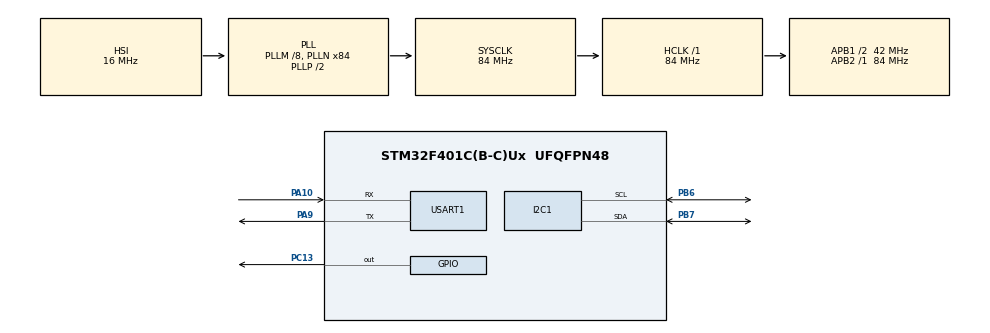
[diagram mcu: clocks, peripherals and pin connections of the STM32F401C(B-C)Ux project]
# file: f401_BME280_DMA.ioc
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Dma.I2C1_RX.1.Direction=DMA_PERIPH_TO_MEMORY
Dma.I2C1_RX.1.FIFOMode=DMA_FIFOMODE_DISABLE
Dma.I2C1_RX.1.Instance=DMA1_Stream0
Dma.I2C1_RX.1.MemDataAlignment=DMA_MDATAALIGN_BYTE
Dma.I2C1_RX.1.MemInc=DMA_MINC_ENABLE
Dma.I2C1_RX.1.Mode=DMA_NORMAL
Dma.I2C1_RX.1.PeriphDataAlignment=DMA_PDATAALIGN_BYTE
Dma.I2C1_RX.1.PeriphInc=DMA_PINC_DISABLE
Dma.I2C1_RX.1.Priority=DMA_PRIORITY_LOW
Dma.I2C1_TX.0.Direction=DMA_MEMORY_TO_PERIPH
Dma.I2C1_TX.0.FIFOMode=DMA_FIFOMODE_DISABLE
Dma.I2C1_TX.0.Instance=DMA1_Stream6
Dma.I2C1_TX.0.MemDataAlignment=DMA_MDATAALIGN_BYTE
Dma.I2C1_TX.0.MemInc=DMA_MINC_ENABLE
Dma.I2C1_TX.0.Mode=DMA_NORMAL
Dma.I2C1_TX.0.PeriphDataAlignment=DMA_PDATAALIGN_BYTE
Dma.I2C1_TX.0.PeriphInc=DMA_PINC_DISABLE
Dma.I2C1_TX.0.Priority=DMA_PRIORITY_LOW
Dma.Request0=I2C1_TX
Dma.Request1=I2C1_RX
Dma.Request2=USART1_TX
Dma.USART1_TX.2.Direction=DMA_MEMORY_TO_PERIPH
Dma.USART1_TX.2.FIFOMode=DMA_FIFOMODE_DISABLE
Dma.USART1_TX.2.Instance=DMA2_Stream7
Dma.USART1_TX.2.MemDataAlignment=DMA_MDATAALIGN_BYTE
Dma.USART1_TX.2.MemInc=DMA_MINC_ENABLE
Dma.USART1_TX.2.Mode=DMA_NORMAL
Dma.USART1_TX.2.PeriphDataAlignment=DMA_PDATAALIGN_BYTE
Dma.USART1_TX.2.PeriphInc=DMA_PINC_DISABLE
Dma.USART1_TX.2.Priority=DMA_PRIORITY_LOW
Mcu.Family=STM32F4
Mcu.Name=STM32F401C(B-C)Ux
Mcu.Package=UFQFPN48
NVIC.DMA1_Stream0_IRQn=true\:0\:0\:false\:false\:true\:false\:true\:true
NVIC.DMA1_Stream6_IRQn=true\:0\:0\:false\:false\:true\:false\:true\:true
NVIC.DMA2_Stream7_IRQn=true\:0\:0\:false\:false\:true\:false\:true\:true
NVIC.I2C1_ER_IRQn=true\:0\:0\:false\:false\:true\:true\:true\:true
NVIC.I2C1_EV_IRQn=true\:0\:0\:false\:false\:true\:true\:true\:true
NVIC.PriorityGroup=NVIC_PRIORITYGROUP_4
NVIC.USART1_IRQn=true\:0\:0\:false\:false\:true\:true\:true\:true
PA10.Mode=Asynchronous
PA10.Signal=USART1_RX
PA9.Mode=Asynchronous
PA9.Signal=USART1_TX
PB6.Mode=I2C
PB6.Signal=I2C1_SCL
PB7.Mode=I2C
PB7.Signal=I2C1_SDA
PC13-ANTI_TAMP.Signal=GPIO_Output
PH0\ -\ OSC_IN.Mode=HSE-External-Oscillator
PH0\ -\ OSC_IN.Signal=RCC_OSC_IN
PH1\ -\ OSC_OUT.Mode=HSE-External-Oscillator
PH1\ -\ OSC_OUT.Signal=RCC_OSC_OUT
ProjectManager.HeapSize=0x200
ProjectManager.StackSize=0x400
ProjectManager.TargetToolchain=STM32CubeIDE
RCC.48MHZClocksFreq_Value=42000000
RCC.AHBFreq_Value=84000000
RCC.APB1CLKDivider=RCC_HCLK_DIV2
RCC.APB1Freq_Value=42000000
RCC.APB1TimFreq_Value=84000000
RCC.APB2Freq_Value=84000000
RCC.APB2TimFreq_Value=84000000
RCC.CortexFreq_Value=84000000
RCC.HCLKFreq_Value=84000000
RCC.HSE_VALUE=25000000
RCC.HSI_VALUE=16000000
RCC.LSE_VALUE=32768
RCC.PLLM=8
RCC.PLLN=84
RCC.SYSCLKFreq_VALUE=84000000
RCC.SYSCLKSource=RCC_SYSCLKSOURCE_PLLCLK
RCC.VCOOutputFreq_Value=168000000
USART1.VirtualMode=VM_ASYNC
board=custom

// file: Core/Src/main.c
/* USER CODE BEGIN Header */
/**
  ******************************************************************************
  * @file           : main.c
  * @brief          : Main program body
  ******************************************************************************
  * @attention
  *
  * Copyright (c) 2022 STMicroelectronics.
  * All rights reserved.
  *
  * This software is licensed under terms that can be found in the LICENSE file
  * in the root directory of this software component.
  * If no LICENSE file comes with this software, it is provided AS-IS.
  *
  ******************************************************************************
  */
/* USER CODE END Header */
#include "main.h"

/* USER CODE BEGIN Includes */
#include <stdio.h>
#include "UART_config.h"
#include "BME280_DMA.h"
/* USER CODE END Includes */

 I2C_HandleTypeDef hi2c1;
DMA_HandleTypeDef hdma_i2c1_tx;
DMA_HandleTypeDef hdma_i2c1_rx;

UART_HandleTypeDef huart1;
DMA_HandleTypeDef hdma_usart1_tx;
char uart_string[100];
extern BME280_Calibrate_parametrs BME280_Cal_par;

void SystemClock_Config(void);
static void MX_GPIO_Init(void);
static void MX_DMA_Init(void);
static void MX_I2C1_Init(void);
static void MX_USART1_UART_Init(void);

int main(void)
{

  /* MCU Configuration--------------------------------------------------------*/

  /* Reset of all peripherals, Initializes the Flash interface and the Systick. */
  HAL_Init();

  /* Configure the system clock */
  SystemClock_Config();

  /* Initialize all configured peripherals */
  MX_GPIO_Init();
  MX_DMA_Init();
  MX_I2C1_Init();
  MX_USART1_UART_Init();

  /* Infinite loop */
  /* USER CODE BEGIN WHILE */
  printf("stm init\n\r\n\r");

  BME280_Init();
  HAL_Delay(10);
  //sprintf(uart_string, "Temperature calibration\r\n T1: %d\r\nT2: %d\r\nT3: %d\r\n\r\n", BME280_Cal_par.T1, BME280_Cal_par.T2, BME280_Cal_par.T3);
  //HAL_UART_Transmit_DMA(&huart1, uart_string, strlen(uart_string));
  uint8_t oversampl_and_mode[4];
  BME280_GetOversamplingMode(oversampl_and_mode);
  while(HAL_DMA_GetState(&hdma_usart1_tx) != HAL_DMA_STATE_READY);
  sprintf(uart_string, "Oversampling and mode\r\n T: %d\r\nP: %d\r\nH: %d\r\nM: %d\r\n\r\n",oversampl_and_mode[0], oversampl_and_mode[1], oversampl_and_mode[2],oversampl_and_mode[3]);
  HAL_UART_Transmit_DMA(&huart1, uart_string, strlen(uart_string));

  BME280_SetOversamplingHum(BME280_OVERSAMPLING_X8);
  BME280_SetOversamplingTemp(BME280_OVERSAMPLING_X8);

  BME280_GetOversamplingMode(oversampl_and_mode);
  while(HAL_DMA_GetState(&hdma_usart1_tx) != HAL_DMA_STATE_READY);
  sprintf(uart_string, "Oversampling and mode\r\n T: %d\r\nP: %d\r\nH: %d\r\nM: %d\r\n\r\n",oversampl_and_mode[0], oversampl_and_mode[1], oversampl_and_mode[2],oversampl_and_mode[3]);
  HAL_UART_Transmit_DMA(&huart1, uart_string, strlen(uart_string));
  /*
  uint8_t reg_status;
  BME280_ReadReg(REG_CONFIG, &reg_status);
  while(HAL_DMA_GetState(&hdma_i2c1_rx)!= HAL_DMA_STATE_READY);
  printf("reg status: %d\r\n", reg_status);

  BME280_SetFilter(BME280_FILTER_16);

  BME280_ReadReg(REG_CONFIG, &reg_status);
  while(HAL_DMA_GetState(&hdma_i2c1_rx)!= HAL_DMA_STATE_READY);
  printf("reg status: %d\r\n", reg_status);
*/
  while (1)
  {
    /* USER CODE END WHILE */

    /* USER CODE BEGIN 3 */
	  float t, p, h;
	  t = BME280_GetTemperature();
	  p = BME280_GetPressure();
	  h = BME280_GetHumidity();
	  printf("Temp: %.2f\r\nPress: %.2f\r\nHum: %.2f %%\r\n", t, p/1000.0f, h);
	  HAL_Delay(100);
  }
  /* USER CODE END 3 */
}

void SystemClock_Config(void)
{
  RCC_OscInitTypeDef RCC_OscInitStruct = {0};
  RCC_ClkInitTypeDef RCC_ClkInitStruct = {0};

  /** Configure the main internal regulator output voltage
  */
  __HAL_RCC_PWR_CLK_ENABLE();
  __HAL_PWR_VOLTAGESCALING_CONFIG(PWR_REGULATOR_VOLTAGE_SCALE2);

  /** Initializes the RCC Oscillators according to the specified parameters
  * in the RCC_OscInitTypeDef structure.
  */
  RCC_OscInitStruct.OscillatorType = RCC_OSCILLATORTYPE_HSI;
  RCC_OscInitStruct.HSIState = RCC_HSI_ON;
  RCC_OscInitStruct.HSICalibrationValue = RCC_HSICALIBRATION_DEFAULT;
  RCC_OscInitStruct.PLL.PLLState = RCC_PLL_ON;
  RCC_OscInitStruct.PLL.PLLSource = RCC_PLLSOURCE_HSI;
  RCC_OscInitStruct.PLL.PLLM = 8;
  RCC_OscInitStruct.PLL.PLLN = 84;
  RCC_OscInitStruct.PLL.PLLP = RCC_PLLP_DIV2;
  RCC_OscInitStruct.PLL.PLLQ = 4;
  if (HAL_RCC_OscConfig(&RCC_OscInitStruct) != HAL_OK)
  {
    Error_Handler();
  }

  /** Initializes the CPU, AHB and APB buses clocks
  */
  RCC_ClkInitStruct.ClockType = RCC_CLOCKTYPE_HCLK|RCC_CLOCKTYPE_SYSCLK
                              |RCC_CLOCKTYPE_PCLK1|RCC_CLOCKTYPE_PCLK2;
  RCC_ClkInitStruct.SYSCLKSource = RCC_SYSCLKSOURCE_PLLCLK;
  RCC_ClkInitStruct.AHBCLKDivider = RCC_SYSCLK_DIV1;
  RCC_ClkInitStruct.APB1CLKDivider = RCC_HCLK_DIV2;
  RCC_ClkInitStruct.APB2CLKDivider = RCC_HCLK_DIV1;

  if (HAL_RCC_ClockConfig(&RCC_ClkInitStruct, FLASH_LATENCY_2) != HAL_OK)
  {
    Error_Handler();
  }
}

static void MX_I2C1_Init(void)
{

  hi2c1.Instance = I2C1;
  hi2c1.Init.ClockSpeed = 100000;
  hi2c1.Init.DutyCycle = I2C_DUTYCYCLE_2;
  hi2c1.Init.OwnAddress1 = 0;
  hi2c1.Init.AddressingMode = I2C_ADDRESSINGMODE_7BIT;
  hi2c1.Init.DualAddressMode = I2C_DUALADDRESS_DISABLE;
  hi2c1.Init.OwnAddress2 = 0;
  hi2c1.Init.GeneralCallMode = I2C_GENERALCALL_DISABLE;
  hi2c1.Init.NoStretchMode = I2C_NOSTRETCH_DISABLE;
  if (HAL_I2C_Init(&hi2c1) != HAL_OK)
  {
    Error_Handler();
  }

}

static void MX_USART1_UART_Init(void)
{

  huart1.Instance = USART1;
  huart1.Init.BaudRate = 115200;
  huart1.Init.WordLength = UART_WORDLENGTH_8B;
  huart1.Init.StopBits = UART_STOPBITS_1;
  huart1.Init.Parity = UART_PARITY_NONE;
  huart1.Init.Mode = UART_MODE_TX_RX;
  huart1.Init.HwFlowCtl = UART_HWCONTROL_NONE;
  huart1.Init.OverSampling = UART_OVERSAMPLING_16;
  if (HAL_UART_Init(&huart1) != HAL_OK)
  {
    Error_Handler();
  }

}

static void MX_DMA_Init(void)
{

  /* DMA controller clock enable */
  __HAL_RCC_DMA1_CLK_ENABLE();
  __HAL_RCC_DMA2_CLK_ENABLE();

  /* DMA interrupt init */
  /* DMA1_Stream0_IRQn interrupt configuration */
  HAL_NVIC_SetPriority(DMA1_Stream0_IRQn, 0, 0);
  HAL_NVIC_EnableIRQ(DMA1_Stream0_IRQn);
  /* DMA1_Stream6_IRQn interrupt configuration */
  HAL_NVIC_SetPriority(DMA1_Stream6_IRQn, 0, 0);
  HAL_NVIC_EnableIRQ(DMA1_Stream6_IRQn);
  /* DMA2_Stream7_IRQn interrupt configuration */
  HAL_NVIC_SetPriority(DMA2_Stream7_IRQn, 0, 0);
  HAL_NVIC_EnableIRQ(DMA2_Stream7_IRQn);

}

static void MX_GPIO_Init(void)
{
  GPIO_InitTypeDef GPIO_InitStruct = {0};

  /* GPIO Ports Clock Enable */
  __HAL_RCC_GPIOC_CLK_ENABLE();
  __HAL_RCC_GPIOH_CLK_ENABLE();
  __HAL_RCC_GPIOA_CLK_ENABLE();
  __HAL_RCC_GPIOB_CLK_ENABLE();

  /*Configure GPIO pin Output Level */
  HAL_GPIO_WritePin(GPIOC, GPIO_PIN_13, GPIO_PIN_RESET);

  /*Configure GPIO pin : PC13 */
  GPIO_InitStruct.Pin = GPIO_PIN_13;
  GPIO_InitStruct.Mode = GPIO_MODE_OUTPUT_PP;
  GPIO_InitStruct.Pull = GPIO_NOPULL;
  GPIO_InitStruct.Speed = GPIO_SPEED_FREQ_LOW;
  HAL_GPIO_Init(GPIOC, &GPIO_InitStruct);

}

void Error_Handler(void)
{
  __disable_irq();
  while (1)
  {
  }
}
